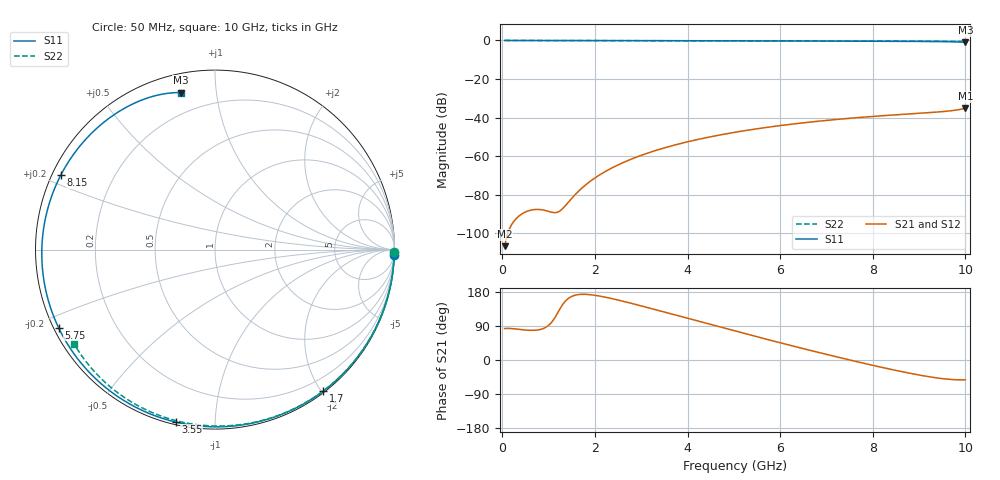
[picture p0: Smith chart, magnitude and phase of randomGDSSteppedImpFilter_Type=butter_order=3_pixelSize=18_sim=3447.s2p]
! freq	dB(S11)	phase(S11)	dB(S12)	phase(S12)
!  dB(S21)	phase(S21)	dB(S22)	phase(S22)
!S-par simulation data
#  GHz  S  DB  R 50
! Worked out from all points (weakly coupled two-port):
!   200 points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, 50 MHz to 10 GHz, reference 50 ohm
!   highest |S21| = -35.13 dB at 10 GHz (marker M1); lowest = -106.8 dB at 50 MHz (marker M2)
!   lowest |S11| = -1.0 dB at 10 GHz (marker M3), VSWR 18.10, Z = 4.55 + j40.1 ohm
!   |S11| at or under -10 dB: nowhere
!   |S22| runs from -0.5 to 0.0 dB; largest |S21 - S12| = 0
!   S11 on the Smith chart (normalised r, x): 50 MHz: 5, -72; 1.7 GHz: 0.02, -2.02; 3.55 GHz: 0.01, -0.80; 5.75 GHz: 0.01, -0.24; 8.15 GHz: 0.02, +0.23; 10 GHz: 0.09, +0.80
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0.05  -0.02 -1.6  -106.78 83.0  -106.78 83.0  -0.00 -0.9
0.4  -0.02 -12.7  -90.41 80.2  -90.41 80.2  -0.01 -6.8
0.75  -0.03 -23.8  -87.70 78.9  -87.70 78.9  -0.02 -12.7
1.55  -0.06 -48.2  -80.61 170.2  -80.61 170.2  -0.03 -26.0
1.7  -0.06 -52.7  -77.04 173.3  -77.04 173.3  -0.04 -28.5
1.75  -0.07 -54.1  -75.98 173.4  -75.98 173.4  -0.04 -29.3
2.05  -0.08 -62.8  -70.58 169.8  -70.58 169.8  -0.04 -34.2
2.45  -0.09 -74.1  -65.17 159.7  -65.17 159.7  -0.05 -40.6
2.9  -0.10 -86.2  -60.53 146.0  -60.53 146.0  -0.06 -47.8
3.4  -0.12 -99.1  -56.47 129.8  -56.47 129.8  -0.07 -55.6
3.55  -0.13 -102.9  -55.42 124.8  -55.42 124.8  -0.08 -57.9
4.25  -0.15 -119.8  -51.24 101.8  -51.24 101.8  -0.10 -68.6
5.05  -0.19 -138.1  -47.56 75.7  -47.56 75.7  -0.12 -80.3
5.75  -0.23 -153.5  -44.99 53.3  -44.99 53.3  -0.15 -90.2
6.7  -0.29 -174.0  -42.23 23.9  -42.23 23.9  -0.20 -103.3
7.45  -0.35 169.8  -40.50 1.5  -40.50 1.5  -0.25 -113.3
8.15  -0.41 154.2  -39.18 -18.2  -39.18 -18.2  -0.30 -122.4
8.35  -0.43 149.6  -38.84 -23.6  -38.84 -23.6  -0.32 -125.0
8.85  -0.48 137.6  -38.04 -36.2  -38.04 -36.2  -0.37 -131.4
9.3  -0.56 125.9  -37.33 -45.8  -37.33 -45.8  -0.41 -137.2
9.7  -0.68 113.9  -36.46 -51.4  -36.46 -51.4  -0.46 -142.3
10  -0.96 102.2  -35.13 -52.2  -35.13 -52.2  -0.50 -146.2
